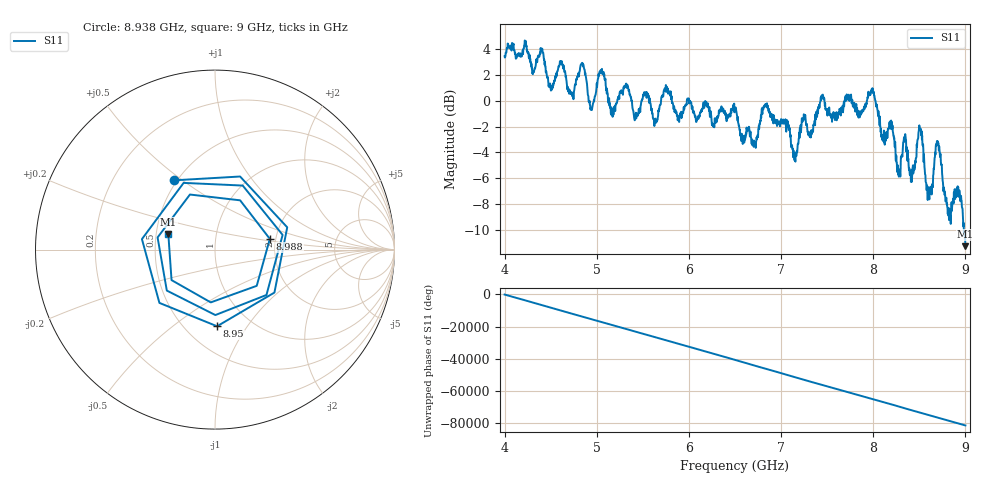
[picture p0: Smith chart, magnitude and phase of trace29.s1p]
! Created with skrf 1.8.0 (http://scikit-rf.org).
# Hz S RI R 50.0
!freq ReS11 ImS11
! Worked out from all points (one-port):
!   1601 points, 4 GHz to 9 GHz, reference 50 ohm
!   lowest |S11| = -11.2 dB at 9 GHz (marker M1), VSWR 1.76, Z = 29 + j5.43 ohm
!   |S11| at or under -10 dB: 8.983134 GHz to end of sweep
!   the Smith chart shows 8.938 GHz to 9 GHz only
!   S11 on the Smith chart (normalised r, x): 8.938 GHz: 0.48, +0.47; 8.95 GHz: 0.71, -0.74; 8.988 GHz: 1.86, +0.25; 9 GHz: 0.58, +0.11
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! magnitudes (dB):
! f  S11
! 4 GHz  3.4
! 4.503 GHz  0.8
! 4.625 GHz  2.8
! 4.725 GHz  0.5
! 4.85 GHz  2.6
! 4.938 GHz  -0.5
! 5.05 GHz  2.3
! 5.162 GHz  -0.7
! 5.25 GHz  0.7
! 5.875 GHz  -1.1
! 6.5 GHz  -0.7
! 6.706 GHz  -3.1
! 6.844 GHz  -0.5
! 7.125 GHz  -3.8
! 7.444 GHz  0.2
! 7.75 GHz  0.2
! 7.991 GHz  0.9
! 8.269 GHz  -5.5
! 8.375 GHz  -3.8
! 8.428 GHz  -5.1
! 8.506 GHz  -2.1
! 8.6 GHz  -7.2
! 8.697 GHz  -3.2
! 8.822 GHz  -9.2
! 8.938 GHz  -7.0
! 8.95 GHz  -7.4
! 8.988 GHz  -10.1
! 9 GHz  -11.2
